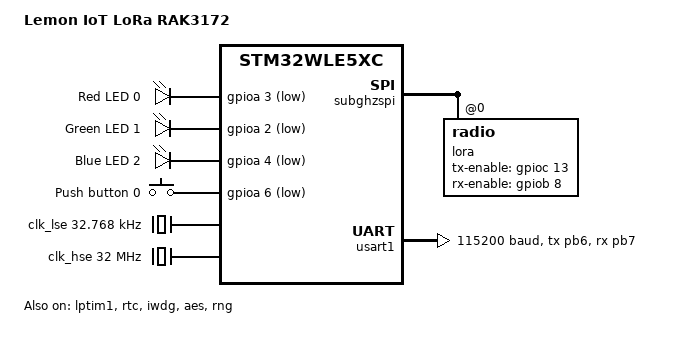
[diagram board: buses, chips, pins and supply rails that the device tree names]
/*
 * Copyright (c) 2023 Aaron Mohtar & Co Pty Ltd
 *
 * SPDX-License-Identifier: Apache-2.0
 */

/dts-v1/;
#include <st/wl/stm32wle5Xc.dtsi>
#include <st/wl/stm32wle5jcix-pinctrl.dtsi>
#include "lemon_iot_lora_rak3172-pinctrl.dtsi"

/ {
	model = "Lemon IoT LoRa RAK3172";
	compatible = "lemon-iot,lora-rak3172";

	chosen {
		zephyr,console = &usart1;
		zephyr,shell-uart = &usart1;
		zephyr,sram = &sram0;
		zephyr,flash = &flash0;
		zephyr,code-partition = &slot0_partition;
	};

	leds {
		compatible = "gpio-leds";
		led0: led_0 {
			gpios = <&gpioa 3 GPIO_ACTIVE_LOW>;
			label = "Red LED 0";
		};
		led1: led_1 {
			gpios = <&gpioa 2 GPIO_ACTIVE_LOW>;
			label = "Green LED 1";
		};
		led2: led_2 {
			gpios = <&gpioa 4 GPIO_ACTIVE_LOW>;
			label = "Blue LED 2";
		};
	};

	buttons {
		compatible = "gpio-keys";
		button0: button_0 {
			gpios = <&gpioa 6 (GPIO_PULL_UP | GPIO_ACTIVE_LOW)>;
			label = "Push button 0";
		};
	};

	/* These aliases are provided for compatibility with samples */
	aliases {
		led0 = &led0;
		led1 = &led1;
		led2 = &led2;
		sw0 = &button0;
		bootloader-led0 = &led0;
		mcuboot-button0 = &button0;
		mcuboot-led0 = &led0;
		watchdog0 = &iwdg;
		lora0 = &lora;
	};

};

&subghzspi {
	status = "okay";
	lora: radio@0 {
		status = "okay";
		tx-enable-gpios = <&gpioc 13 GPIO_ACTIVE_HIGH>; 
		rx-enable-gpios = <&gpiob 8 GPIO_ACTIVE_HIGH>;
		power-amplifier-output = "rfo-hp";
	};
};

&clk_lse {
	// Low-Speed External Crystal
	// RAK3172 has 32.768KHz Crystal Fitted
	status = "okay";
	clock-frequency = <32768>;
};

&clk_lsi {
	// Low-Speed Internal 32kHz
	status = "disabled";
};

&lptim1 {
	// Low Power Timer
	// Required for Low Power Management
	// https://docs.zephyrproject.org/3.0.0/reference/devicetree/bindings/timer/st%2Cstm32-lptim.html#dtbinding-st-stm32-lptim
	status = "okay";
	clocks = <&rcc STM32_CLOCK_BUS_APB1 0x80000000>,
		 	<&rcc STM32_SRC_LSE LPTIM1_SEL(3)>;
};

&clk_hse {
	// High-Speed External 32 MHz Oscillator Clock with trimming capacitors
	// https://docs.zephyrproject.org/3.0.0/reference/devicetree/bindings/clock/st%2Cstm32-hse-clock.html#dtbinding-st-stm32-hse-clock
	status = "okay";
	clock-frequency = <DT_FREQ_M(32)>;
};

&clk_msi {
	// Multi-Speed Internal RC Oscillator from 100 kHz to 48 MHz
	// MSI Range = 11 (48MHz), Range 6 = (4MHz)
	// The MSI is used as system clock source after startup from reset, configured at 4 MHz.
	status = "okay";
	msi-range = <6>;
};

&clk_hsi {
	// High-Speed Internal 16MHz RC Oscillator Clock
	status = "disabled";
};

&pll {
	status = "okay";
	div-m = <1>;
	mul-n = <3>;
	div-r = <2>;
	div-q = <2>;
	clocks = <&clk_hse>;
};

&rcc {
	clocks = <&pll>;
	clock-frequency = <DT_FREQ_M(48)>;
	cpu1-prescaler = <1>;
	ahb3-prescaler = <1>;
	apb1-prescaler = <1>;
	apb2-prescaler = <1>;
};

&usart1 {
	pinctrl-0 = <&usart1_tx_pb6 &usart1_rx_pb7>;
	pinctrl-names = "default";
	current-speed = <115200>;
	status = "okay";
};

&rtc {
	status = "okay";
};

&iwdg {
	status = "okay";
};

&aes {
	status = "okay";
};

&rng {
	status = "okay";
};

&flash0 {
	partitions {
		compatible = "fixed-partitions";
		#address-cells = <1>;
		#size-cells = <1>;

		boot_partition: partition@0 {
			label = "mcuboot";
			reg = <0x00000000 DT_SIZE_K(32)>;
			read-only;
		};
		slot0_partition: partition@8000 {
			label = "image-0";
			reg = <0x00008000 DT_SIZE_K(108)>;
		};
		slot1_partition: partition@23000 {
			label = "image-1";
			reg = <0x00023000 DT_SIZE_K(108)>;
		};
		storage_partition: partition@3e000 {
			label = "storage";
			reg = <0x0003e000 DT_SIZE_K(8)>;
		};
	};
};


